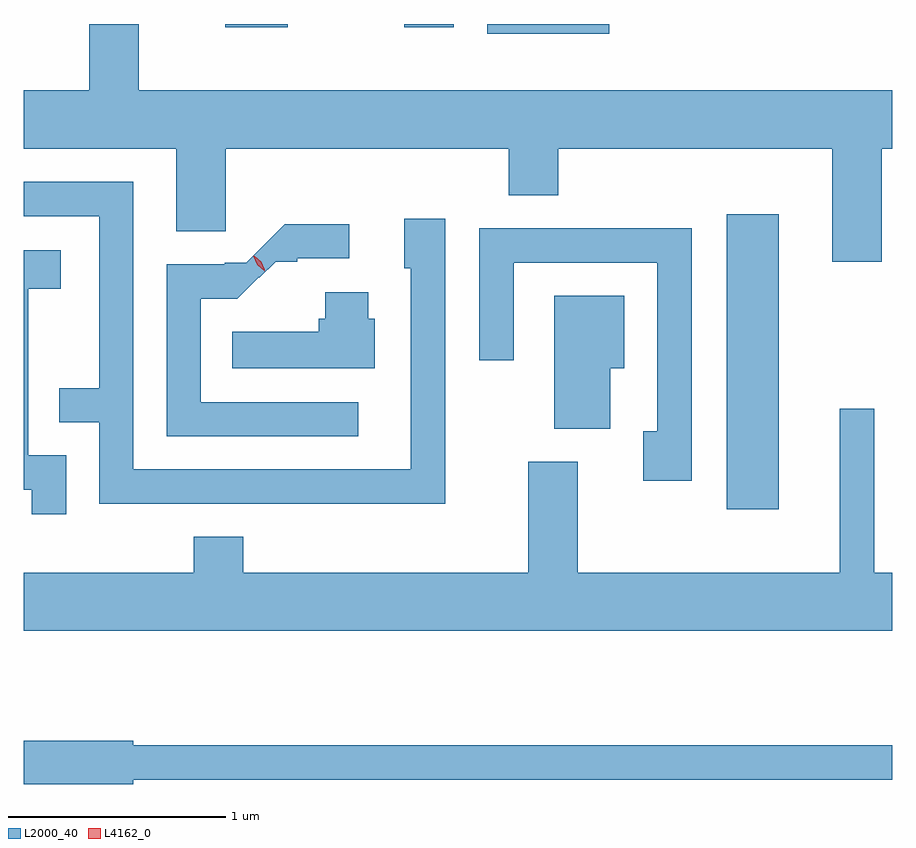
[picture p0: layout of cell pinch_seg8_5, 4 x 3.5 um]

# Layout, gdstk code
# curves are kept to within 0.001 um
import gdstk
lib = gdstk.Library(unit=1e-6, precision=1e-09)
def R(c, l, rs):  # rectangles x0, y0, x1, y1
    for r in rs: c.add(gdstk.rectangle(r[:2], r[2:], *l))
def P(c, l, *ps):  # polygons
    for p in ps: c.add(gdstk.Polygon(p, *l))
L2000_40 = (2000, 40)
L4162_0 = (4162, 0)

pinch_seg8_5 = lib.new_cell('pinch_seg8_5')
R(pinch_seg8_5, L2000_40, [(1131.786,1825.876,1132.024,1827.234), (1130.683,1828.066,1131.244,1828.11), (1129.476,1828.096,1129.764,1828.11), (1130.301,1828.096,1130.529,1828.11)])
P(pinch_seg8_5, L2000_40, [(1132.499,1827.536),(1132.548,1827.536),(1132.548,1827.804),(1129.079,1827.804),(1129.079,1828.11),(1128.851,1828.11),(1128.851,1827.804),(1128.548,1827.804),(1128.548,1827.536),(1129.251,1827.536),(1129.251,1827.156),(1129.479,1827.156),(1129.479,1827.536),(1130.781,1827.536),(1130.781,1827.321),(1131.009,1827.321),(1131.009,1827.536),(1132.271,1827.536),(1132.271,1827.016),(1132.499,1827.016)],
  [(1130.489,1827.214),(1130.301,1827.214),(1130.301,1826.986),(1130.331,1826.986),(1130.331,1826.059),(1129.054,1826.059),(1129.054,1827.384),(1128.548,1827.384),(1128.548,1827.226),(1128.896,1827.226),(1128.896,1826.434),(1128.713,1826.434),(1128.713,1826.276),(1128.896,1826.276),(1128.896,1825.901),(1130.489,1825.901)],
  [(1130.088,1826.369),(1129.364,1826.369),(1129.364,1826.846),(1129.532,1826.846),(1129.631,1826.945),(1129.634,1826.941),(1129.708,1827.015),(1129.809,1827.015),(1129.809,1827.031),(1130.048,1827.031),(1130.048,1827.189),(1129.75,1827.189),(1129.574,1827.011),(1129.475,1827.011),(1129.475,1827.004),(1129.206,1827.004),(1129.206,1826.211),(1130.088,1826.211)],
  [(1131.624,1827.169),(1130.646,1827.169),(1130.646,1826.563),(1130.804,1826.563),(1130.804,1827.011),(1131.466,1827.011),(1131.466,1826.234),(1131.401,1826.234),(1131.401,1826.006),(1131.624,1826.006)],
  [(1128.744,1826.124),(1128.569,1826.124),(1128.569,1826.891),(1128.719,1826.891),(1128.719,1827.069),(1128.548,1827.069),(1128.548,1825.966),(1128.586,1825.966),(1128.586,1825.853),(1128.744,1825.853)],
  [(1130.164,1826.754),(1130.134,1826.754),(1130.134,1826.874),(1129.936,1826.874),(1129.936,1826.754),(1129.906,1826.754),(1129.906,1826.694),(1129.508,1826.694),(1129.508,1826.526),(1130.164,1826.526)],
  [(1131.249,1826.526),(1131.314,1826.526),(1131.314,1826.859),(1130.991,1826.859),(1130.991,1826.246),(1131.249,1826.246)],
  [(1132.548,1825.584),(1132.464,1825.584),(1132.464,1826.338),(1132.306,1826.338),(1132.306,1825.584),(1131.099,1825.584),(1131.099,1826.094),(1130.871,1826.094),(1130.871,1825.584),(1129.559,1825.584),(1129.559,1825.749),(1129.331,1825.749),(1129.331,1825.584),(1128.548,1825.584),(1128.548,1825.316),(1132.548,1825.316)],
  [(1129.054,1824.631),(1132.548,1824.631),(1132.548,1824.789),(1129.054,1824.789),(1129.054,1824.809),(1128.548,1824.809),(1128.548,1824.611),(1129.054,1824.611)])
P(pinch_seg8_5, L4162_0, [(1129.659,1826.971),(1129.624,1827.001),(1129.606,1827.042),(1129.606,1827.043),(1129.606,1827.043),(1129.641,1827.013),(1129.659,1826.972),(1129.659,1826.971)],
  [(1129.658,1826.978),(1129.627,1827.003),(1129.611,1827.039),(1129.611,1827.04),(1129.612,1827.04),(1129.643,1827.015),(1129.659,1826.979),(1129.659,1826.978)])

lib.write_gds('pinch_seg8_5.gds')
